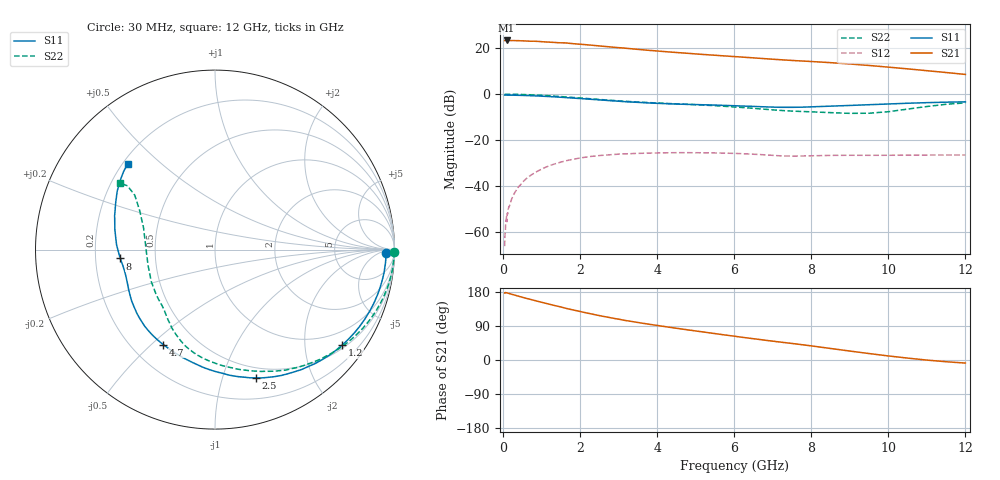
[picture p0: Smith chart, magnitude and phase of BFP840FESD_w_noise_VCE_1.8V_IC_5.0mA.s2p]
! Infineon Technologies  Discrete & RF Semiconductors
! BFP840FESD
! VCE =  1.8 V,  IC =  5.0 mA
! Common Emitter S-Parameters:  May 2012
# GHz  S  MA  R  50
!  f  S11  S21  S12  S22
! GHz  MAG  ANG  MAG  ANG  MAG  ANG  MAG  ANG
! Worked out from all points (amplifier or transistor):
!   103 points, 30 MHz to 12 GHz, reference 50 ohm
!   highest |S21| = 23.3 dB at 80 MHz (marker M1)
!   |S21| within 3 dB of that: start of sweep to 2.905 GHz
!   unconditionally stable (mu >= 1): 7.059 GHz to end of sweep
!   at 400 MHz: K = 0.04, MSG = 31.7 dB, |S12| = -40.1 dB
!   at 3.7 GHz: K = 0.35, MSG = 22.4 dB, |S12| = -25.6 dB
!   at 12 GHz: K = 1.27, MAG = 14.4 dB, |S12| = -26.4 dB
!   lowest NFmin = 0.55 dB at 450 MHz
!   S11 on the Smith chart (normalised r, x): 30 MHz: 37, -14; 1.2 GHz: 0.58, -2.89; 2.5 GHz: 0.39, -1.29; 4.7 GHz: 0.33, -0.55; 8 GHz: 0.31, -0.04; 12 GHz: 0.22, +0.39
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0.03  0.9536 -1.0  14.59 176.8  0.0005 93.7  0.9949 -0.7
0.04  0.9537 -1.3  14.59 176.7  0.0009 75.0  0.9959 -0.9
0.05  0.9534 -1.6  14.66 178.0  0.0011 83.0  0.9966 -1.1
0.08  0.9533 -2.5  14.66 177.3  0.0022 97.0  0.9972 -2.0
0.09  0.9524 -2.8  14.65 177.0  0.0017 85.2  0.9974 -2.2
0.14  0.9528 -4.4  14.59 175.8  0.0036 85.3  0.9965 -3.6
0.4  0.9441 -12.6  14.5 168.2  0.0099 81.1  0.9876 -10.5
0.8  0.9198 -25.0  14.13 157.3  0.0194 72.5  0.9602 -20.8
1.2  0.8863 -36.9  13.46 147.0  0.028 63.8  0.9204 -30.9
1.6  0.8448 -48.8  13.01 137.0  0.0354 55.7  0.873 -40.9
2.1  0.7923 -62.3  11.95 125.5  0.0424 46.2  0.8121 -52.8
2.5  0.7504 -72.3  11.14 117.0  0.0465 39.7  0.7669 -61.5
3.2  0.6841 -88.4  9.903 103.8  0.0507 30.2  0.6978 -74.8
4.1  0.6277 -106.7  8.514 89.6  0.0531 21.3  0.6375 -88.9
4.7  0.6028 -118.5  7.804 80.8  0.0536 16.6  0.6052 -97.1
6.1  0.556 -143.0  6.471 61.4  0.0514 8.0  0.5206 -114.7
6.9  0.5266 -156.8  5.812 50.9  0.0475 5.9  0.4626 -125.3
8  0.5305 -174.7  5.119 37.2  0.0459 10.6  0.4137 -142.1
8.5  0.5492 177.2  4.833 30.4  0.0468 11.0  0.397 -153.5
9.5  0.5903 161.3  4.197 17.0  0.047 11.2  0.3857 178.0
10.5  0.635 149.1  3.543 5.0  0.0473 12.9  0.4743 152.4
12  0.6809 135.6  2.682 -8.1  0.0477 17.0  0.6474 145.0
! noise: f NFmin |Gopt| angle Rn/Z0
0.45  0.55  0.51  6  0.17
0.9  0.59  0.49  12  0.18
1.5  0.61  0.45  18  0.17
1.9  0.63  0.41  27  0.17
2.4  0.65  0.39  34  0.18
3.5  0.66  0.38  54  0.17
5.5  0.75  0.26  92  0.12
8  0.92  0.22  150  0.11
10  1.08  0.26  -154  0.11
12  1.29  0.43  -126  0.13
